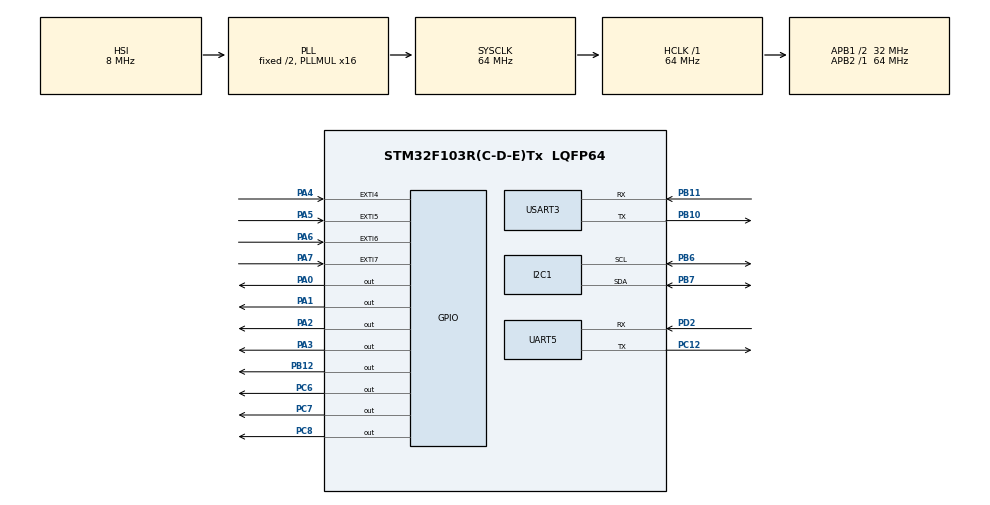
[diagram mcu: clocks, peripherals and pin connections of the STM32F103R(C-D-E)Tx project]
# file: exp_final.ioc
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Dma.Request0=USART3_RX
Dma.USART3_RX.0.Direction=DMA_PERIPH_TO_MEMORY
Dma.USART3_RX.0.Instance=DMA1_Channel3
Dma.USART3_RX.0.MemDataAlignment=DMA_MDATAALIGN_BYTE
Dma.USART3_RX.0.MemInc=DMA_MINC_ENABLE
Dma.USART3_RX.0.Mode=DMA_NORMAL
Dma.USART3_RX.0.PeriphDataAlignment=DMA_PDATAALIGN_BYTE
Dma.USART3_RX.0.PeriphInc=DMA_PINC_DISABLE
Dma.USART3_RX.0.Priority=DMA_PRIORITY_LOW
I2C1.I2C_Mode=I2C_Fast
Mcu.Family=STM32F1
Mcu.Name=STM32F103R(C-D-E)Tx
Mcu.Package=LQFP64
NVIC.DMA1_Channel3_IRQn=true\:0\:0\:false\:false\:true\:false
NVIC.EXTI4_IRQn=true\:0\:0\:false\:false\:true\:true
NVIC.EXTI9_5_IRQn=true\:0\:0\:false\:false\:true\:true
NVIC.PriorityGroup=NVIC_PRIORITYGROUP_4
NVIC.USART3_IRQn=true\:0\:0\:false\:false\:true\:true
PA0-WKUP.Signal=GPIO_Output
PA1.Signal=GPIO_Output
PA13.Mode=Serial_Wire
PA13.Signal=SYS_JTMS-SWDIO
PA14.Mode=Serial_Wire
PA14.Signal=SYS_JTCK-SWCLK
PA2.Signal=GPIO_Output
PA3.Signal=GPIO_Output
PA4.Signal=GPXTI4
PA5.Signal=GPXTI5
PA6.Signal=GPXTI6
PA7.Signal=GPXTI7
PB10.Mode=Asynchronous
PB10.Signal=USART3_TX
PB11.Mode=Asynchronous
PB11.Signal=USART3_RX
PB12.Signal=GPIO_Output
PB6.Mode=I2C
PB6.Signal=I2C1_SCL
PB7.Mode=I2C
PB7.Signal=I2C1_SDA
PC12.Mode=Asynchronous
PC12.Signal=UART5_TX
PC6.Signal=GPIO_Output
PC7.Signal=GPIO_Output
PC8.Signal=GPIO_Output
PD2.Mode=Asynchronous
PD2.Signal=UART5_RX
ProjectManager.HeapSize=0x200
ProjectManager.StackSize=0x400
ProjectManager.TargetToolchain=MDK-ARM V5
RCC.AHBFreq_Value=64000000
RCC.APB1CLKDivider=RCC_HCLK_DIV2
RCC.APB1Freq_Value=32000000
RCC.APB1TimFreq_Value=64000000
RCC.APB2Freq_Value=64000000
RCC.APB2TimFreq_Value=64000000
RCC.HCLKFreq_Value=64000000
RCC.PLLMUL=RCC_PLL_MUL16
RCC.SYSCLKFreq_VALUE=64000000
RCC.SYSCLKSource=RCC_SYSCLKSOURCE_PLLCLK
RCC.USBFreq_Value=64000000
UART5.VirtualMode=Asynchronous
USART3.VirtualMode=VM_ASYNC
board=custom

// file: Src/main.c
/**
  ******************************************************************************
  * @file           : main.c
  * @brief          : Main program body
  ******************************************************************************
  ** This notice applies to any and all portions of this file
  * that are not between comment pairs USER CODE BEGIN and
  * USER CODE END. Other portions of this file, whether
  * inserted by the user or by software development tools
  * are owned by their respective copyright owners.
  *
  * COPYRIGHT(c) 2019 STMicroelectronics
  *
  * Redistribution and use in source and binary forms, with or without modification,
  * are permitted provided that the following conditions are met:
  *   1. Redistributions of source code must retain the above copyright notice,
  *      this list of conditions and the following disclaimer.
  *   2. Redistributions in binary form must reproduce the above copyright notice,
  *      this list of conditions and the following disclaimer in the documentation
  *      and/or other materials provided with the distribution.
  *   3. Neither the name of STMicroelectronics nor the names of its contributors
  *      may be used to endorse or promote products derived from this software
  *      without specific prior written permission.
  *
  * THIS SOFTWARE IS PROVIDED BY THE COPYRIGHT HOLDERS AND CONTRIBUTORS "AS IS"
  * AND ANY EXPRESS OR IMPLIED WARRANTIES, INCLUDING, BUT NOT LIMITED TO, THE
  * IMPLIED WARRANTIES OF MERCHANTABILITY AND FITNESS FOR A PARTICULAR PURPOSE ARE
  * DISCLAIMED. IN NO EVENT SHALL THE COPYRIGHT HOLDER OR CONTRIBUTORS BE LIABLE
  * FOR ANY DIRECT, INDIRECT, INCIDENTAL, SPECIAL, EXEMPLARY, OR CONSEQUENTIAL
  * DAMAGES (INCLUDING, BUT NOT LIMITED TO, PROCUREMENT OF SUBSTITUTE GOODS OR
  * SERVICES; LOSS OF USE, DATA, OR PROFITS; OR BUSINESS INTERRUPTION) HOWEVER
  * CAUSED AND ON ANY THEORY OF LIABILITY, WHETHER IN CONTRACT, STRICT LIABILITY,
  * OR TORT (INCLUDING NEGLIGENCE OR OTHERWISE) ARISING IN ANY WAY OUT OF THE USE
  * OF THIS SOFTWARE, EVEN IF ADVISED OF THE POSSIBILITY OF SUCH DAMAGE.
  *
  ******************************************************************************
  */
#include "main.h"
#include "stm32f1xx_hal.h"

/* USER CODE BEGIN Includes */
#include "string.h"
#include "flash-ops.h"
#include "serial-ops.h"
#include "wifi-ops.h"
#include "keyboard.h"
#include "OLED.h"
#include "stdlib.h"

struct user_info{
	char username[32];
	char passwd[16];
	char wifiname[16];
	char wifipasswd[16];
};
/* USER CODE END Includes */

I2C_HandleTypeDef hi2c1;

UART_HandleTypeDef huart5;
UART_HandleTypeDef huart3;
DMA_HandleTypeDef hdma_usart3_rx;

/* USER CODE BEGIN PV */
/* Private variables ---------------------------------------------------------*/
char uart3_rxbuf[64];
/* USER CODE END PV */

void SystemClock_Config(void);
static void MX_GPIO_Init(void);
static void MX_DMA_Init(void);
static void MX_UART5_Init(void);
static void MX_USART3_UART_Init(void);
static void MX_I2C1_Init(void);

/* USER CODE BEGIN PFP */
/* Private function prototypes -----------------------------------------------*/
int ap_mode(void);
void ap_mode_data(int);
int station_mode(void);
int station_mode_data(int);
void key_interrupt_fun(uint16_t);
int main_menu_flash(void);
int password_flash(void);
int tips_flash(void);
int time(void);

#define MAIN_MENU 0
#define PASS_MENU 1
#define TIPS_MENU 2

#define WIFI_MODE_AP 3
#define WIFI_MODE_STATION 4
/* USER CODE END PFP */

/* USER CODE BEGIN 0 */
struct user_info info;
int menu_flag=MAIN_MENU;
int temp_flag=0;
int wifi_flag;
int linkid;
int year,month,day;
int hour,min,sec;
char Y[16],M[16],D[16];
char H[16],MIN[16],S[16];
/*int yeartemp=0,monthtemp=0,daytemp=0;
int hourtemp=0,mintemp=0,sectemp=0;*/
char cmdbuf[64];
char tipsbuf[16];
char starbuf[16];
char pswdbuf[16];
char pswdprintbuf[16];
char configbuf[16];
char timeconfig[16];
char timetempbuf[6];
char rxbuf[100];
char rxprintbuf[100];
char orginpswd[16]="123456";
char orginpswdbuf[16];
char uart_rxbuf[1];
char judgebuf[16];
char funcbuf[32];
char *ptchar;
int pos=0;

void HAL_GPIO_EXTI_Callback (uint16_t GPIO_PIN)//按键中断
{
	/*按键消抖*/
	static int pre_ticks=0;
	int ticks;
	ticks=HAL_GetTick();
	if(ticks-pre_ticks<300){
		return;
	}
	pre_ticks=ticks;
	/*读取按键中断*/
	char keynum;
	keynum=Get_KeyNum(GPIO_PIN);
	if(keynum>='0'&&keynum<='9'){
		OLED_CLS();
		menu_flag=PASS_MENU;
		starbuf[pos]='*';
		pswdbuf[pos]=keynum;
		pos++;
		//beep(40);
	}

	if(keynum=='A'){
		OLED_CLS();
		int ret;
		menu_flag=TIPS_MENU;
		temp_flag=1;
		strcpy(tipsbuf,"ap mode");
		//ap_mode();
	}

	if(keynum=='C'){
		OLED_CLS();
		menu_flag=PASS_MENU;
		for(int i=0;i<=pos;i++){

			starbuf[i]=NULL;
			pswdbuf[i]=NULL;
		}
		pos=0;
	}

	if(keynum=='D'){
		OLED_CLS();
		menu_flag=PASS_MENU;
		pos--;
		starbuf[pos]=NULL;
		pswdbuf[pos]=NULL;
	}

	if(keynum=='E'){
		OLED_CLS();
		int ret;
		ret=strncmp(/*orginpswd*/info.passwd,pswdbuf,6);
		if(ret==0){
			HAL_GPIO_WritePin(GPIOB,GPIO_PIN_12,GPIO_PIN_RESET);
			HAL_GPIO_WritePin(GPIOC,GPIO_PIN_7,GPIO_PIN_RESET);
			//HAL_Delay(1000);
			//HAL_GPIO_WritePin(GPIOB,GPIO_PIN_12,GPIO_PIN_RESET);
			//HAL_GPIO_WritePin(GPIOC,GPIO_PIN_7,GPIO_PIN_SET);
			menu_flag=TIPS_MENU;
			strcpy(tipsbuf,"unlock success");
			memset(starbuf,0,sizeof(starbuf));
			memset(pswdbuf,0,sizeof(pswdbuf));
			pos=0;
		}else{
			HAL_GPIO_WritePin(GPIOB,GPIO_PIN_12,GPIO_PIN_SET);
			HAL_GPIO_WritePin(GPIOC,GPIO_PIN_6,GPIO_PIN_RESET);
			//HAL_Delay(1000);
			//HAL_GPIO_WritePin(GPIOC,GPIO_PIN_8,GPIO_PIN_SET);
			menu_flag=TIPS_MENU;
			strcpy(tipsbuf,"unlock fail");
			memset(starbuf,0,sizeof(starbuf));
			memset(pswdbuf,0,sizeof(pswdbuf));
			pos=0;
		}
	}

	if(keynum=='Q'){
		OLED_CLS();
		menu_flag=MAIN_MENU;

		memset(starbuf,0,sizeof(starbuf));
		memset(pswdbuf,0,sizeof(pswdbuf));
		pos=0;
	}
}

int ap_mode(void)//ap模式
{

	int ret;
	ret=wifi_ap_init(&huart3);
	if(ret<0){

		char *ptmp = "wifi_ap_init err\n";
		HAL_UART_Transmit(&huart5,(uint8_t*)ptmp,strlen(ptmp),100);
		//HAL_UART_Transmit(&huart5,(uint8_t*)ptmp,strlen(ptmp),100);
		return -12;
	}
	HAL_UART_Transmit(&huart5,(uint8_t*)"wifi_ap_init ok\n",strlen("wifi_ap_init ok\n"),100);

	ret=wifi_ap_set_args(&huart3,"Manuel","12345678");
	if(ret<0){

		char *ptmp="wifi_ap_set_arg err\n";
		HAL_UART_Transmit(&huart5,(uint8_t*)ptmp,strlen(ptmp),100);
		return -12;
	}
	HAL_UART_Transmit(&huart5,(uint8_t *)"wifi_ap_set_args ok\n",strlen("wifi_ap_set_args ok\n"),100);

	/*等待客户端连接，客户端需要连接本ap�?10086端口，该函数会等待timeout ms，如果有连接到来，会返回丿个大于等于�?*/
	linkid=wifi_listen_and_wait_connect_timeout(&huart3,10086,60*1000);

	if(linkid<0){
		char*ptmp="wifi_listen_and_wait_connect_timeout err\n";
		HAL_UART_Transmit(&huart5,(uint8_t*)ptmp,strlen(ptmp),100);
		return -12;
	}
	HAL_UART_Transmit(&huart5,(uint8_t *)"connect ok\n",strlen("connect ok\n"),100);
	/*while(wifi_flag==WIFI_MODE_AP){
		ap_mode_data(ret);
	}*/
	//wifi_flag=WIFI_MODE_AP;
	//return ret;
}

void ap_mode_data(int ret)//ap模式下接收数�?
{

	char rxbuf[64];
	int rxlen;
	memset(rxbuf,0,sizeof(rxbuf));

	wifi_ap_wait_recvdata_timeout(&huart3,linkid,rxbuf,&rxlen,60*100);

	/*if(ret>=0){
		return;
	}else{*/
	ret=wifi_ap_send_data(&huart3,linkid,rxbuf,rxlen);
	//}

	/*---------------------进入AP模式----------------------------*/
		//如果收到的字符串前面为AP:func，则进入AP模式，将信息写入flash
		if(strncmp(rxbuf,"AP:func",7)==0){
			/*-------------------读取func倿-------------------*/
			ptchar=strstr(rxbuf,"func=");
			ptchar=ptchar+strlen("func=");
			memset(funcbuf,0,sizeof(funcbuf));
			int i=0;
			while(*ptchar!=','&&*ptchar!=';'){
				funcbuf[i]=*ptchar;
				ptchar++;
				i++;
			}

			if(strncmp(funcbuf,"LOGINFO",7)==0){
				/*------------------读取用户吿--------------------*/
				ptchar=strstr(rxbuf,"usr=");
				ptchar=ptchar+strlen("usr=");
				memset(info.username,0,sizeof(info.username));
				i=0;
				while(*ptchar!=','&&*ptchar!=';'){
					info.username[i]=*ptchar;
					ptchar++;
					i++;
				}
				/*-----------------------------------------------*/

				/*-----------------读取用户密码------------------*/
				ptchar=strstr(rxbuf,"passwd=");
				ptchar=ptchar+strlen("passwd=");
				memset(info.passwd,0,sizeof(info.passwd));
				i=0;
				while(*ptchar!=','&&*ptchar!=';'){

					info.passwd[i]=*ptchar;
					ptchar++;
					i++;
				}
				/*-----------------------------------------------*/

				flash_ops_write(PAGE0_ADDR,(int *)&info,sizeof(info));
				HAL_UART_Transmit(&huart5,(uint8_t *)"set user success",strlen("set user success"),100);
			}else if(strncmp(funcbuf,"WIFIINFO",8)==0){

				/*-----------------读取wifi吿--------------------*/
				ptchar=strstr(rxbuf,"apname=");
				ptchar=ptchar+strlen("apname=");
				memset(info.wifiname,0,sizeof(info.wifiname));
				i=0;
				while(*ptchar!=','&&*ptchar!=';'){
					info.wifiname[i]=*ptchar;
					ptchar++;
					i++;
				}
				/*-----------------------------------------------*/

				/*-----------------读取wifi密码------------------*/
				ptchar=strstr(rxbuf,"appass=");
				ptchar=ptchar+strlen("appass=");
				memset(info.wifipasswd,0,sizeof(info.wifipasswd));
				i=0;
				while(*ptchar!=','&&*ptchar!=';'){
					info.wifipasswd[i]=*ptchar;
					ptchar++;
					i++;
				}
				/*-----------------------------------------------*/
				flash_ops_write(PAGE0_ADDR,(int *)&info,sizeof(info));
				HAL_UART_Transmit(&huart5,(uint8_t *)"set wifi success",strlen("set wifi success"),100);
			}

		/*-----------------------------------------------------------*/

		/*-----------------------------------------------------------*/
		}
		/*-----------------------------------------------------------*/
}

int station_mode(void)//station模式
{
	int ret;
	char sendbuf[64];
	char rxbuf[64];
	char logbuf[64];
	char gettimebuf[64];

	/*char userbuf[64];
	char userpassbuf[16];*/

	//memset(&info,0,sizeof(info));
	//flash_ops_read(PAGE0_ADDR,&info,sizeof(info));//读取flash
	/*-------------------------wifi初始�?---------------------------*/
	ret=wifi_station_init(&huart3);
	if(ret<0){
		char *ptmp="wifi_station_init err\n";
		HAL_UART_Transmit(&huart5,(uint8_t *)ptmp,strlen(ptmp),100);
		return -12;
	}
	HAL_UART_Transmit(&huart5,(uint8_t *)"init ok\n",strlen("init ok\n"),100);
	/*--------------------------------------------------------------*/

	/*--------------------------加入热点----------------------------*/
	ret=wifi_station_join_ap(&huart3,info.wifiname,info.wifipasswd);
	if(ret<0){
		char *ptmp="wifi_station_join_ap err\n";
		HAL_UART_Transmit(&huart5,(uint8_t *)ptmp,strlen(ptmp),100);
		return -12;
	}
	HAL_UART_Transmit(&huart5,(uint8_t *)"ap ok\n",strlen("ap ok\n"),100);
	/*--------------------------------------------------------------*/

	/*-------------------------连接服务�?---------------------------*/
	ret=wifi_station_connect(&huart3,"TCP","106.12.216.65",10066);
	if(ret<0){
		char *ptmp="wifi_station_connect err\n";
		HAL_UART_Transmit(&huart5,(uint8_t *)ptmp,strlen(ptmp),100);
		return -12;
	}
	HAL_UART_Transmit(&huart5,(uint8_t *)"connect ok\n",strlen("connect ok\n"),100);
	/*--------------------------------------------------------------*/

	/*--------------------------登录账户----------------------------*/
	memset(rxbuf,0,sizeof(rxbuf));
	memset(sendbuf,0,sizeof(sendbuf));
	memset(tipsbuf,0,sizeof(tipsbuf));

	sprintf(logbuf,"SL2SER:func=log,usr=%s,passwd=%s;",info.username,info.passwd);
	strcpy(sendbuf,logbuf);
	ret=wifi_station_send_recv_data_timeout(&huart3,sendbuf,strlen(sendbuf),rxbuf,sizeof(rxbuf),300);
	HAL_UART_Transmit(&huart5,(uint8_t *)rxbuf,strlen(rxbuf),100);
	if(ret <0){
			char *ptmp = "wifi_station_send_recv_log_timeout err\n";
			HAL_UART_Transmit(&huart5,(uint8_t *)ptmp,strlen(ptmp),100);
			return -12;
	}
	strcpy(tipsbuf,rxbuf);
	menu_flag=TIPS_MENU;
	/*--------------------------------------------------------------*/

	/*------------------------获取服务器时�?------------------------*/
	memset(sendbuf,0,sizeof(sendbuf));
	memset(rxbuf,0,sizeof(rxbuf));
	//memset(gettimebuf,0,sizeof(gettimebuf));
	strcpy(sendbuf,"SL2SER:func=gettime;");

	ret=wifi_station_send_recv_data_timeout(&huart3,sendbuf,strlen(sendbuf),rxbuf,sizeof(rxbuf),300);

	if(ret <0){
			char *ptmp = "wifi_station_send_recv_tim_timeout err\n";
			HAL_UART_Transmit(&huart5,(uint8_t *)ptmp,strlen(ptmp),100);
			return -12;
	}

	if(strncmp(rxbuf,"RESP:time",9)==0){
		int i=0;
		memset(Y,0,sizeof(Y));
		ptchar=strstr(rxbuf,"Y=");
		ptchar=ptchar+strlen("Y=");
		while(*ptchar!=','&&*ptchar!=';'){
			Y[i]=*ptchar;
			ptchar++;
			i++;
		}
		year=atoi(Y);

		i=0;
		memset(M,0,sizeof(M));
		ptchar=strstr(rxbuf,"M=");
		ptchar=ptchar+strlen("M=");
		while(*ptchar!=','&&*ptchar!=';'){
			M[i]=*ptchar;
			ptchar++;
			i++;
		}
		month=atoi(M);

		i=0;
		memset(D,0,sizeof(D));
		ptchar=strstr(rxbuf,"D=");
		ptchar=ptchar+strlen("D=");
		while(*ptchar!=','&&*ptchar!=';'){
			D[i]=*ptchar;
			ptchar++;
			i++;
		}
		day=atoi(D);

		i=0;
		memset(H,0,sizeof(H));
		ptchar=strstr(rxbuf,"H=");
		ptchar=ptchar+strlen("H=");
		while(*ptchar!=','&&*ptchar!=';'){
			H[i]=*ptchar;
			ptchar++;
			i++;
		}
		hour=atoi(H);

		i=0;
		memset(MIN,0,sizeof(MIN));
		ptchar=strstr(rxbuf,"min=");
		ptchar=ptchar+strlen("min=");
		while(*ptchar!=','&&*ptchar!=';'){
			MIN[i]=*ptchar;
			ptchar++;
			i++;
		}
		min=atoi(MIN);

		i=0;
		memset(S,0,sizeof(S));
		ptchar=strstr(rxbuf,"S=");
		ptchar=ptchar+strlen("S=");
		while(*ptchar!=','&&*ptchar!=';'){
			S[i]=*ptchar;
			ptchar++;
			i++;
		}
		sec=atoi(S);

	}
	//wifi_flag=WIFI_MODE_STATION;
	/*--------------------------------------------------------------*/
	return ret;
}

int station_mode_data(int ret)
{
	char sendbuf[64];
	char rxbuf[64];
	char gettimebuf[16];
	/*发送命令*/
	memset(rxbuf,0,sizeof(rxbuf));
	memset(sendbuf,0,sizeof(sendbuf));
	strcpy(sendbuf,"SL2SER:func=getcmd;");
	ret=wifi_station_send_recv_data_timeout(&huart3,sendbuf,strlen(sendbuf),rxbuf,sizeof(rxbuf),300);
	/*if(ret<0){
		char *ptmp = "wifi_station_send_recv_cmd_timeout err\n";
			HAL_UART_Transmit(&huart5,(uint8_t *)ptmp,strlen(ptmp),100);
			return -12;
	}*/

	/*判断命令状态*/
	ptchar=strstr(rxbuf,"RESP:");
	ptchar=ptchar+strlen("RESP:");
	memset(cmdbuf,0,sizeof(cmdbuf));
	int i=0;
	while(*ptchar!=','&&*ptchar!=';'){
		cmdbuf[i]=*ptchar;
		ptchar++;
		i++;
	}
	if(strncmp("NULL",cmdbuf,4)==0){

	}else if(strncmp("lock",cmdbuf,4)==0){
		HAL_GPIO_WritePin(GPIOB,GPIO_PIN_12,GPIO_PIN_RESET);
		HAL_GPIO_WritePin(GPIOC,GPIO_PIN_7,GPIO_PIN_RESET);
		strcpy(tipsbuf,"unlocked");
		menu_flag=TIPS_MENU;
		HAL_Delay(1000);
		HAL_GPIO_WritePin(GPIOB,GPIO_PIN_12,GPIO_PIN_SET);
		HAL_GPIO_WritePin(GPIOC,GPIO_PIN_7,GPIO_PIN_SET);
	}else if(strncmp("unlock",cmdbuf,6)==0){
		HAL_GPIO_WritePin(GPIOB,GPIO_PIN_12,GPIO_PIN_SET);
		strcpy(tipsbuf,"lock success");
		menu_flag=TIPS_MENU;
	}

	HAL_UART_Transmit(&huart5,(uint8_t *)rxbuf,strlen(rxbuf),100);
	HAL_Delay(100);
}
int main_menu_flash(void)
{
	/*HAL_Delay(1000);
	sec++;
	if(sec==60){
		sec=0;min++;
		if(min==60){
			//......
		}
	}*/
	char datebuf[16];
	char timebuf[16];
	sprintf(datebuf,"    %02d-%02d-%02d   ",year,month,day);
	sprintf(timebuf,"    %02d:%02d:%02d   ",hour,min,sec);
	OLED_ShowStr(0,0,datebuf,CODE8X16);
	OLED_ShowStr(0,16,timebuf,CODE8X16);
	OLED_ShowStr(0,32," SMARTLOCKMARKII",CODE8X16);
	OLED_ShowStr(0,64,"WIFI            ",CODE8X16);
  fflash();
}

int password_flash(void)
{
	//OLED_CLS();
	OLED_ShowStr(0,16,"  Enter passwd  ",CODE8X16);
	OLED_ShowStr(0,32,starbuf,CODE8X16);
	fflash();
}

int tips_flash(void)
{
	OLED_CLS();
	//OLED_ShowStr(0,0,rxprintbuf,CODE8X16);
	OLED_ShowStr(0,16,tipsbuf,CODE8X16);
	//OLED_ShowStr(0,32,pswdprintbuf,CODE8X16);
	fflash();
	if(strncmp("unlock success",tipsbuf,14)==0){
		//HAL_Delay(1000*2);
		HAL_GPIO_WritePin(GPIOB,GPIO_PIN_12,GPIO_PIN_SET);
		HAL_GPIO_WritePin(GPIOC,GPIO_PIN_7,GPIO_PIN_SET);
	}else if(strncmp("unlock fail",tipsbuf,11)==0){
		//HAL_Delay(1000);
		HAL_GPIO_WritePin(GPIOC,GPIO_PIN_6,GPIO_PIN_SET);
	}else if(strncmp(" reset success ",tipsbuf,15)==0){
		HAL_GPIO_WritePin(GPIOC,GPIO_PIN_7,GPIO_PIN_SET);
	}else if(strncmp(" wrong oldpass ",tipsbuf,15)==0){
		HAL_GPIO_WritePin(GPIOC,GPIO_PIN_6,GPIO_PIN_SET);
	}
}

int time(void)
{
	HAL_Delay(1000);
	sec++;
	if(sec==60){
		sec=0;min++;
		if(min==60){
			//......
		}
	}
}
/* USER CODE END 0 */

int main(void)
{
  /* USER CODE BEGIN 1 */
	//char flashbuf[128];
	int ret;
  /* USER CODE END 1 */

  /* MCU Configuration----------------------------------------------------------*/

  /* Reset of all peripherals, Initializes the Flash interface and the Systick. */
  HAL_Init();

  /* Configure the system clock */
  SystemClock_Config();

  /* Initialize all configured peripherals */
  MX_GPIO_Init();
  MX_DMA_Init();
  MX_UART5_Init();
  MX_USART3_UART_Init();
  MX_I2C1_Init();
  /* USER CODE BEGIN 2 */
	Key_Bord_Init();
	OLED_Init();

	HAL_GPIO_WritePin(GPIOB,GPIO_PIN_12,GPIO_PIN_SET);
	HAL_GPIO_WritePin(GPIOC,GPIO_PIN_6,GPIO_PIN_SET);
	HAL_GPIO_WritePin(GPIOC,GPIO_PIN_7,GPIO_PIN_SET);
	HAL_GPIO_WritePin(GPIOC,GPIO_PIN_8,GPIO_PIN_SET);

	__HAL_UART_ENABLE_IT(&huart3,UART_IT_IDLE);
	HAL_UART_Receive_DMA(&huart3,(uint8_t *)uart3_rxbuf,sizeof(uart3_rxbuf));

	year=2019,month=7,day=17;
	hour=16,min=38,sec=0;

	memset(&info,0,sizeof(info));
	flash_ops_read(PAGE0_ADDR,&info,sizeof(info));//读取flash
	if(/*strncmp(info.username,"manuel",6)!=0*/strlen(info.username)==0||strlen(info.passwd)==0||strlen(info.wifiname)==0||strlen(info.wifipasswd)==0){
		ret=ap_mode();
		while(1){
			ap_mode_data(ret);
		}
		//wifi_flag=WIFI_MODE_AP;
	}else{
		ret=station_mode();
		wifi_flag=WIFI_MODE_STATION;
	}

  /* USER CODE END 2 */
   int b,c,d;
	printf("hello world");
	printf("shut the fucking up");
  /* Infinite loop */
  /* USER CODE BEGIN WHILE */

  while (1)
  {
		if(temp_flag==1){
			ret=ap_mode();
			temp_flag=0;
			wifi_flag=WIFI_MODE_AP;
			ap_mode_data(ret);
		}
		station_mode_data(ret);
		switch(menu_flag){
			case MAIN_MENU:
				main_menu_flash();
				time();
			break;
			case PASS_MENU:
				password_flash();
				time();
			break;
			case TIPS_MENU:
				tips_flash();
				time();
				HAL_Delay(1000);
				menu_flag=MAIN_MENU;
			break;
		}

		/*switch(wifi_flag){
			case WIFI_MODE_AP:
				ap_mode_data(ret);
				break;
			case WIFI_MODE_STATION:
				station_mode_data(ret);
				break;
		}*/
  /* USER CODE END WHILE */

  }

}

void SystemClock_Config(void)
{

  RCC_OscInitTypeDef RCC_OscInitStruct;
  RCC_ClkInitTypeDef RCC_ClkInitStruct;

    /**Initializes the CPU, AHB and APB busses clocks
    */
  RCC_OscInitStruct.OscillatorType = RCC_OSCILLATORTYPE_HSI;
  RCC_OscInitStruct.HSIState = RCC_HSI_ON;
  RCC_OscInitStruct.HSICalibrationValue = 16;
  RCC_OscInitStruct.PLL.PLLState = RCC_PLL_ON;
  RCC_OscInitStruct.PLL.PLLSource = RCC_PLLSOURCE_HSI_DIV2;
  RCC_OscInitStruct.PLL.PLLMUL = RCC_PLL_MUL16;
  if (HAL_RCC_OscConfig(&RCC_OscInitStruct) != HAL_OK)
  {
    _Error_Handler(__FILE__, __LINE__);
  }

    /**Initializes the CPU, AHB and APB busses clocks
    */
  RCC_ClkInitStruct.ClockType = RCC_CLOCKTYPE_HCLK|RCC_CLOCKTYPE_SYSCLK
                              |RCC_CLOCKTYPE_PCLK1|RCC_CLOCKTYPE_PCLK2;
  RCC_ClkInitStruct.SYSCLKSource = RCC_SYSCLKSOURCE_PLLCLK;
  RCC_ClkInitStruct.AHBCLKDivider = RCC_SYSCLK_DIV1;
  RCC_ClkInitStruct.APB1CLKDivider = RCC_HCLK_DIV2;
  RCC_ClkInitStruct.APB2CLKDivider = RCC_HCLK_DIV1;

  if (HAL_RCC_ClockConfig(&RCC_ClkInitStruct, FLASH_LATENCY_2) != HAL_OK)
  {
    _Error_Handler(__FILE__, __LINE__);
  }

    /**Configure the Systick interrupt time
    */
  HAL_SYSTICK_Config(HAL_RCC_GetHCLKFreq()/1000);

    /**Configure the Systick
    */
  HAL_SYSTICK_CLKSourceConfig(SYSTICK_CLKSOURCE_HCLK);

  /* SysTick_IRQn interrupt configuration */
  HAL_NVIC_SetPriority(SysTick_IRQn, 0, 0);
}

/* I2C1 init function */
static void MX_I2C1_Init(void)
{

  hi2c1.Instance = I2C1;
  hi2c1.Init.ClockSpeed = 400000;
  hi2c1.Init.DutyCycle = I2C_DUTYCYCLE_2;
  hi2c1.Init.OwnAddress1 = 0;
  hi2c1.Init.AddressingMode = I2C_ADDRESSINGMODE_7BIT;
  hi2c1.Init.DualAddressMode = I2C_DUALADDRESS_DISABLE;
  hi2c1.Init.OwnAddress2 = 0;
  hi2c1.Init.GeneralCallMode = I2C_GENERALCALL_DISABLE;
  hi2c1.Init.NoStretchMode = I2C_NOSTRETCH_DISABLE;
  if (HAL_I2C_Init(&hi2c1) != HAL_OK)
  {
    _Error_Handler(__FILE__, __LINE__);
  }

}

/* UART5 init function */
static void MX_UART5_Init(void)
{

  huart5.Instance = UART5;
  huart5.Init.BaudRate = 115200;
  huart5.Init.WordLength = UART_WORDLENGTH_8B;
  huart5.Init.StopBits = UART_STOPBITS_1;
  huart5.Init.Parity = UART_PARITY_NONE;
  huart5.Init.Mode = UART_MODE_TX_RX;
  huart5.Init.HwFlowCtl = UART_HWCONTROL_NONE;
  huart5.Init.OverSampling = UART_OVERSAMPLING_16;
  if (HAL_UART_Init(&huart5) != HAL_OK)
  {
    _Error_Handler(__FILE__, __LINE__);
  }

}

/* USART3 init function */
static void MX_USART3_UART_Init(void)
{

  huart3.Instance = USART3;
  huart3.Init.BaudRate = 115200;
  huart3.Init.WordLength = UART_WORDLENGTH_8B;
  huart3.Init.StopBits = UART_STOPBITS_1;
  huart3.Init.Parity = UART_PARITY_NONE;
  huart3.Init.Mode = UART_MODE_TX_RX;
  huart3.Init.HwFlowCtl = UART_HWCONTROL_NONE;
  huart3.Init.OverSampling = UART_OVERSAMPLING_16;
  if (HAL_UART_Init(&huart3) != HAL_OK)
  {
    _Error_Handler(__FILE__, __LINE__);
  }

}

static void MX_DMA_Init(void)
{
  /* DMA controller clock enable */
  __HAL_RCC_DMA1_CLK_ENABLE();

  /* DMA interrupt init */
  /* DMA1_Channel3_IRQn interrupt configuration */
  HAL_NVIC_SetPriority(DMA1_Channel3_IRQn, 0, 0);
  HAL_NVIC_EnableIRQ(DMA1_Channel3_IRQn);

}

/** Configure pins as
        * Analog
        * Input
        * Output
        * EVENT_OUT
        * EXTI
*/
static void MX_GPIO_Init(void)
{

  GPIO_InitTypeDef GPIO_InitStruct;

  /* GPIO Ports Clock Enable */
  __HAL_RCC_GPIOA_CLK_ENABLE();
  __HAL_RCC_GPIOB_CLK_ENABLE();
  __HAL_RCC_GPIOC_CLK_ENABLE();
  __HAL_RCC_GPIOD_CLK_ENABLE();

  /*Configure GPIO pin Output Level */
  HAL_GPIO_WritePin(GPIOA, GPIO_PIN_0|GPIO_PIN_1|GPIO_PIN_2|GPIO_PIN_3, GPIO_PIN_RESET);

  /*Configure GPIO pin Output Level */
  HAL_GPIO_WritePin(GPIOB, GPIO_PIN_12, GPIO_PIN_RESET);

  /*Configure GPIO pin Output Level */
  HAL_GPIO_WritePin(GPIOC, GPIO_PIN_6|GPIO_PIN_7|GPIO_PIN_8, GPIO_PIN_RESET);

  /*Configure GPIO pins : PA0 PA1 PA2 PA3 */
  GPIO_InitStruct.Pin = GPIO_PIN_0|GPIO_PIN_1|GPIO_PIN_2|GPIO_PIN_3;
  GPIO_InitStruct.Mode = GPIO_MODE_OUTPUT_PP;
  GPIO_InitStruct.Pull = GPIO_NOPULL;
  GPIO_InitStruct.Speed = GPIO_SPEED_FREQ_LOW;
  HAL_GPIO_Init(GPIOA, &GPIO_InitStruct);

  /*Configure GPIO pins : PA4 PA5 PA6 PA7 */
  GPIO_InitStruct.Pin = GPIO_PIN_4|GPIO_PIN_5|GPIO_PIN_6|GPIO_PIN_7;
  GPIO_InitStruct.Mode = GPIO_MODE_IT_RISING;
  GPIO_InitStruct.Pull = GPIO_NOPULL;
  HAL_GPIO_Init(GPIOA, &GPIO_InitStruct);

  /*Configure GPIO pin : PB12 */
  GPIO_InitStruct.Pin = GPIO_PIN_12;
  GPIO_InitStruct.Mode = GPIO_MODE_OUTPUT_PP;
  GPIO_InitStruct.Pull = GPIO_NOPULL;
  GPIO_InitStruct.Speed = GPIO_SPEED_FREQ_LOW;
  HAL_GPIO_Init(GPIOB, &GPIO_InitStruct);

  /*Configure GPIO pins : PC6 PC7 PC8 */
  GPIO_InitStruct.Pin = GPIO_PIN_6|GPIO_PIN_7|GPIO_PIN_8;
  GPIO_InitStruct.Mode = GPIO_MODE_OUTPUT_PP;
  GPIO_InitStruct.Pull = GPIO_NOPULL;
  GPIO_InitStruct.Speed = GPIO_SPEED_FREQ_LOW;
  HAL_GPIO_Init(GPIOC, &GPIO_InitStruct);

  /* EXTI interrupt init*/
  HAL_NVIC_SetPriority(EXTI4_IRQn, 0, 0);
  HAL_NVIC_EnableIRQ(EXTI4_IRQn);

  HAL_NVIC_SetPriority(EXTI9_5_IRQn, 0, 0);
  HAL_NVIC_EnableIRQ(EXTI9_5_IRQn);

}

void _Error_Handler(char *file, int line)
{
  while(1)
  {
  }
}

/************************ (C) COPYRIGHT STMicroelectronics *****END OF FILE****/
